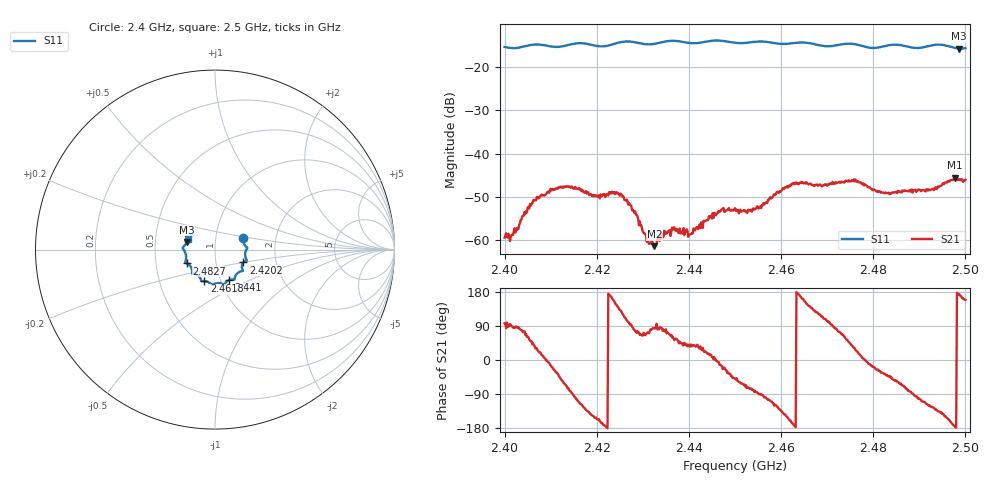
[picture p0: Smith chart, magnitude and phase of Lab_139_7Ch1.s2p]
# Hz S RI R 50
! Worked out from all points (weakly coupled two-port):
!   601 points, 2.4 GHz to 2.5 GHz, reference 50 ohm
!   highest |S21| = -45.55 dB at 2.4977 GHz (marker M1); lowest = -61.3 dB at 2.4325 GHz (marker M2)
!   lowest |S11| = -15.8 dB at 2.4987 GHz (marker M3), VSWR 1.39, Z = 36.3 + j3.17 ohm
!   |S11| at or under -10 dB: start of sweep to end of sweep
!   S12 and S22 are empty: the file has one direction only
!   S11 on the Smith chart (normalised r, x): 2.4 GHz: 1.36, +0.17; 2.4202 GHz: 1.36, -0.20; 2.441 GHz: 1.10, -0.39; 2.4618 GHz: 0.84, -0.30; 2.4827 GHz: 0.72, -0.11; 2.5 GHz: 0.73, +0.09
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2.4e9  0.1577 0.0623  -0.000127 0.00107  0 0  0 0
2.4015e9  0.1584 0.0446  8.67e-06 0.00115  0 0  0 0
2.4075e9  0.1806 0.00817  0.00289 0.00107  0 0  0 0
2.416667e9  0.1773 -0.0604  -0.00168 -0.00329  0 0  0 0
2.420167e9  0.1581 -0.0714  -0.00293 -0.00125  0 0  0 0
2.425333e9  0.1551 -0.1153  -0.0021 0.00267  0 0  0 0
2.431333e9  0.1233 -0.1331  0.000306 0.00086  0 0  0 0
2.4325e9  0.115 -0.1435  9.62e-05 0.000852  0 0  0 0
2.433333e9  0.1116 -0.1512  0.000135 0.00107  0 0  0 0
2.436833e9  0.1084 -0.1673  0.000862 0.00112  0 0  0 0
2.441e9  0.078 -0.1699  0.00106 0.000873  0 0  0 0
2.447e9  0.0475 -0.1942  0.00217 -0.000573  0 0  0 0
2.45e9  0.028 -0.1871  0.00151 -0.0018  0 0  0 0
2.4555e9  -0.014 -0.1955  -3.39e-06 -0.00247  0 0  0 0
2.461833e9  -0.0598 -0.1755  -0.00401 -0.00155  0 0  0 0
2.466667e9  -0.0785 -0.168  -0.00321 0.00292  0 0  0 0
2.475833e9  -0.1276 -0.1315  0.00425 0.00273  0 0  0 0
2.482667e9  -0.1564 -0.0771  0.00277 -0.00224  0 0  0 0
2.483333e9  -0.1606 -0.0752  0.00263 -0.00239  0 0  0 0
2.497667e9  -0.1628 0.0304  -0.00525 -0.000545  0 0  0 0
2.498667e9  -0.1565 0.0424  -0.00503 0.000551  0 0  0 0
2.5e9  -0.1522 0.0615  -0.00464 0.00183  0 0  0 0
